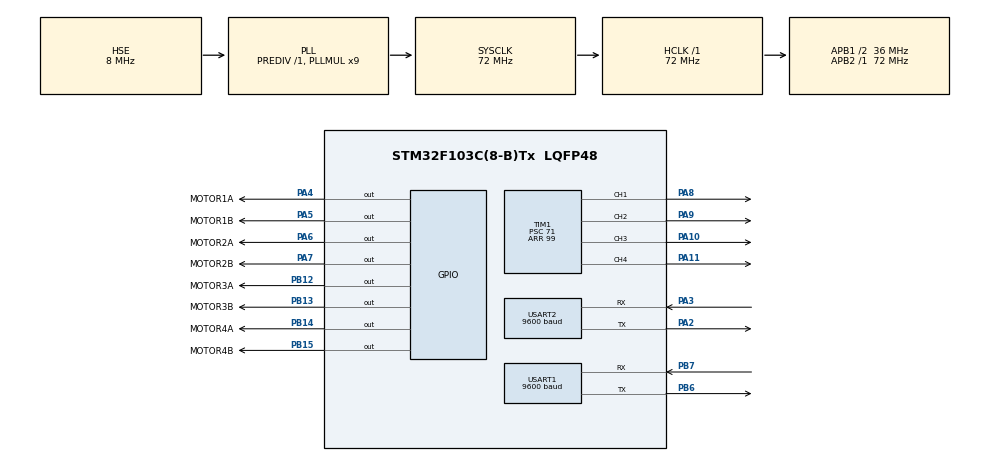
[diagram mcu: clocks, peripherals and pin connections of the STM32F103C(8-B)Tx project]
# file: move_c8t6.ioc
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Mcu.Family=STM32F1
Mcu.Name=STM32F103C(8-B)Tx
Mcu.Package=LQFP48
NVIC.PriorityGroup=NVIC_PRIORITYGROUP_4
NVIC.USART1_IRQn=true\:0\:0\:false\:false\:true\:true\:true\:true
NVIC.USART2_IRQn=true\:0\:0\:false\:false\:true\:true\:true\:true
PA10.Signal=S_TIM1_CH3
PA11.Signal=S_TIM1_CH4
PA13.Mode=Serial_Wire
PA13.Signal=SYS_JTMS-SWDIO
PA14.Mode=Serial_Wire
PA14.Signal=SYS_JTCK-SWCLK
PA2.Mode=Asynchronous
PA2.Signal=USART2_TX
PA3.Mode=Asynchronous
PA3.Signal=USART2_RX
PA4.GPIO_Label=MOTOR1A
PA4.Signal=GPIO_Output
PA5.GPIO_Label=MOTOR1B
PA5.Signal=GPIO_Output
PA6.GPIO_Label=MOTOR2A
PA6.Signal=GPIO_Output
PA7.GPIO_Label=MOTOR2B
PA7.Signal=GPIO_Output
PA8.Signal=S_TIM1_CH1
PA9.Signal=S_TIM1_CH2
PB12.GPIO_Label=MOTOR3A
PB12.Signal=GPIO_Output
PB13.GPIO_Label=MOTOR3B
PB13.Signal=GPIO_Output
PB14.GPIO_Label=MOTOR4A
PB14.Signal=GPIO_Output
PB15.GPIO_Label=MOTOR4B
PB15.Signal=GPIO_Output
PB6.Mode=Asynchronous
PB6.Signal=USART1_TX
PB7.Mode=Asynchronous
PB7.Signal=USART1_RX
PD0-OSC_IN.Mode=HSE-External-Oscillator
PD0-OSC_IN.Signal=RCC_OSC_IN
PD1-OSC_OUT.Mode=HSE-External-Oscillator
PD1-OSC_OUT.Signal=RCC_OSC_OUT
ProjectManager.HeapSize=0x200
ProjectManager.StackSize=0x400
ProjectManager.TargetToolchain=MDK-ARM V5.32
RCC.AHBFreq_Value=72000000
RCC.APB1CLKDivider=RCC_HCLK_DIV2
RCC.APB1Freq_Value=36000000
RCC.APB1TimFreq_Value=72000000
RCC.APB2Freq_Value=72000000
RCC.APB2TimFreq_Value=72000000
RCC.HCLKFreq_Value=72000000
RCC.PLLMUL=RCC_PLL_MUL9
RCC.PLLSourceVirtual=RCC_PLLSOURCE_HSE
RCC.SYSCLKFreq_VALUE=72000000
RCC.SYSCLKSource=RCC_SYSCLKSOURCE_PLLCLK
RCC.USBFreq_Value=72000000
SH.S_TIM1_CH1.0=TIM1_CH1,PWM Generation1 CH1
SH.S_TIM1_CH2.0=TIM1_CH2,PWM Generation2 CH2
SH.S_TIM1_CH3.0=TIM1_CH3,PWM Generation3 CH3
SH.S_TIM1_CH4.0=TIM1_CH4,PWM Generation4 CH4
TIM1.Channel-PWM\ Generation1\ CH1=TIM_CHANNEL_1
TIM1.Channel-PWM\ Generation2\ CH2=TIM_CHANNEL_2
TIM1.Channel-PWM\ Generation3\ CH3=TIM_CHANNEL_3
TIM1.Channel-PWM\ Generation4\ CH4=TIM_CHANNEL_4
TIM1.Period=99
TIM1.Prescaler=71
USART1.BaudRate=9600
USART1.VirtualMode=VM_ASYNC
USART2.BaudRate=9600
USART2.VirtualMode=VM_ASYNC
VP_TIM1_VS_ClockSourceINT.Mode=Internal
board=custom

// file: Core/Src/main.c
/* USER CODE BEGIN Header */
/**
  ******************************************************************************
  * @file           : main.c
  * @brief          : Main program body
  ******************************************************************************
  * @attention
  *
  * Copyright (c) 2025 STMicroelectronics.
  * All rights reserved.
  *
  * This software is licensed under terms that can be found in the LICENSE file
  * in the root directory of this software component.
  * If no LICENSE file comes with this software, it is provided AS-IS.
  *
  ******************************************************************************
  */
/* USER CODE END Header */
#include "main.h"
#include "tim.h"
#include "usart.h"
#include "gpio.h"

/* USER CODE BEGIN Includes */
#include "move.h"
#include <stdio.h>
#include "motor.h"
/* USER CODE END Includes */

void SystemClock_Config(void);

/* USER CODE BEGIN 0 */
uint8_t recieveData[14];
/* USER CODE END 0 */

int main(void)
{

  /* MCU Configuration--------------------------------------------------------*/

  /* Reset of all peripherals, Initializes the Flash interface and the Systick. */
  HAL_Init();

  /* Configure the system clock */
  SystemClock_Config();

  /* Initialize all configured peripherals */
  MX_GPIO_Init();
  MX_TIM1_Init();
  MX_USART1_UART_Init();
  MX_USART2_UART_Init();
  /* USER CODE BEGIN 2 */
	HAL_TIM_PWM_Start(&htim1,TIM_CHANNEL_1);
	HAL_TIM_PWM_Start(&htim1,TIM_CHANNEL_2);
	HAL_TIM_PWM_Start(&htim1,TIM_CHANNEL_3);
	HAL_TIM_PWM_Start(&htim1,TIM_CHANNEL_4);
//	HAL_TIM_PWM_Start(&htim2,TIM_CHANNEL_1);
	BRAKE();
	HAL_UART_Receive_IT(&huart1,recieveData,sizeof(recieveData));
	motor_speed_set(500,500,500,500);
  /* USER CODE END 2 */

  /* Infinite loop */
  while (1)
  {

  }
}

void SystemClock_Config(void)
{
  RCC_OscInitTypeDef RCC_OscInitStruct = {0};
  RCC_ClkInitTypeDef RCC_ClkInitStruct = {0};

  /** Initializes the RCC Oscillators according to the specified parameters
  * in the RCC_OscInitTypeDef structure.
  */
  RCC_OscInitStruct.OscillatorType = RCC_OSCILLATORTYPE_HSE;
  RCC_OscInitStruct.HSEState = RCC_HSE_ON;
  RCC_OscInitStruct.HSEPredivValue = RCC_HSE_PREDIV_DIV1;
  RCC_OscInitStruct.HSIState = RCC_HSI_ON;
  RCC_OscInitStruct.PLL.PLLState = RCC_PLL_ON;
  RCC_OscInitStruct.PLL.PLLSource = RCC_PLLSOURCE_HSE;
  RCC_OscInitStruct.PLL.PLLMUL = RCC_PLL_MUL9;
  if (HAL_RCC_OscConfig(&RCC_OscInitStruct) != HAL_OK)
  {
    Error_Handler();
  }

  /** Initializes the CPU, AHB and APB buses clocks
  */
  RCC_ClkInitStruct.ClockType = RCC_CLOCKTYPE_HCLK|RCC_CLOCKTYPE_SYSCLK
                              |RCC_CLOCKTYPE_PCLK1|RCC_CLOCKTYPE_PCLK2;
  RCC_ClkInitStruct.SYSCLKSource = RCC_SYSCLKSOURCE_PLLCLK;
  RCC_ClkInitStruct.AHBCLKDivider = RCC_SYSCLK_DIV1;
  RCC_ClkInitStruct.APB1CLKDivider = RCC_HCLK_DIV2;
  RCC_ClkInitStruct.APB2CLKDivider = RCC_HCLK_DIV1;

  if (HAL_RCC_ClockConfig(&RCC_ClkInitStruct, FLASH_LATENCY_2) != HAL_OK)
  {
    Error_Handler();
  }
}

/* USER CODE BEGIN 4 */
void HAL_UART_RxCpltCallback(UART_HandleTypeDef *huart)
{
	if(huart == &huart1)
	{
		HAL_UART_Transmit(&huart2,recieveData,sizeof(recieveData),HAL_MAX_DELAY);
//		if (recieveData[10] == 114)
//		{
//			double angle = 0.075;
//			__HAL_TIM_SET_COMPARE(&htim2,TIM_CHANNEL_1,angle);
//		}
		if (recieveData[4] == 87)
		{
				FORWARD_MOVE();
		}
		else if (recieveData[4] == 83)
		{
				BACK_MOVE();
		}
		else if (recieveData[4] == 65)
		{
				LEFT_MOVE();
		}
		else if (recieveData[4] == 68)
		{
				RIGHT_MOVE();
		}
		else if (recieveData[4] == 81)
		{
				LEFT_ROTAY();
		}
		else if (recieveData[4] == 69)
		{
				RIGHT_ROTAY();
		}
		else if (recieveData[4] == 0)
		{
				BRAKE();
		}
		HAL_UART_Receive_IT(&huart1,recieveData,sizeof(recieveData));
	}
}
/* USER CODE END 4 */

void Error_Handler(void)
{
  __disable_irq();
  while (1)
  {
  }
}
